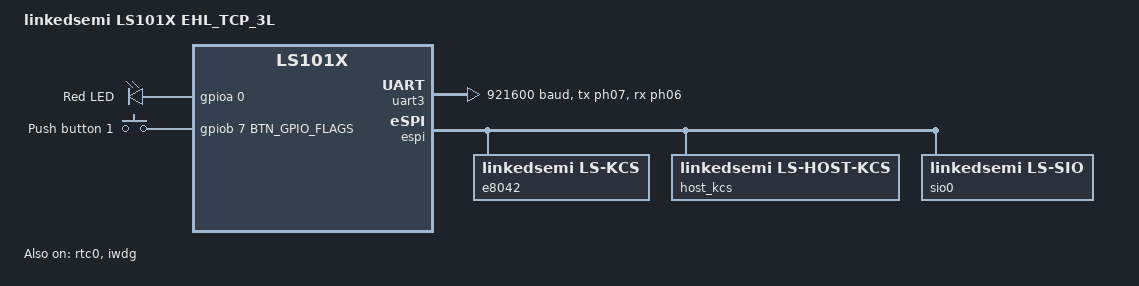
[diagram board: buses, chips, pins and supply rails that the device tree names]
/*
 * Copyright (c) 2026 LinkedSemi
 *
 * SPDX-License-Identifier: Apache-2.0
 *
 * Product carrier: host motherboard EHL_TCP_3L (Leo / LS1010 EC).
 *
 * - Timing is done by motherboard hardware; EC does not drive RSMRST.
 * - Sense-only: PE15 ← SLP_S3#, PD03 ← PLTRST# (GPIO inputs; not PWM8).
 * - Host works as Super I/O; BIOS does not decode ACPI EC 0x62/0x66.
 * - Console UART3: TX PH07 / RX PH06 @ 921600.
 */

/dts-v1/;
#include <riscv/linkedsemi/ls101x.dtsi>
#include "ls101x_ehl_tcp_3l-pinctrl.dtsi"
#include <zephyr/dt-bindings/pinctrl/ls101x-pinctrl.h>
#include <zephyr/dt-bindings/input/input-event-codes.h>

#define BTN_GPIO_FLAGS (GPIO_ACTIVE_HIGH | GPIO_PULL_UP)

/ {
	model = "linkedsemi LS101X EHL_TCP_3L";
	compatible = "linkedsemi,ls101x_ehl_tcp_3l";

	chosen {
		zephyr,flash = &flash0;
		zephyr,sram = &sram0;
		zephyr,shell-uart = &uart3;
		zephyr,console = &uart3;
	};

	aliases {
		led0 = &led0;
		sw0 = &btn0;
		rtc0 = &rtc0;
		watchdog0 = &iwdg;
	};

	leds {
		compatible = "gpio-leds";
		led0: led_0 {
			gpios = <&gpioa 0 GPIO_ACTIVE_HIGH>;
			label = "Red LED";
		};
	};

	keys {
		compatible = "gpio-keys";
		btn0: btn_0 {
			gpios = <&gpiob 7 BTN_GPIO_FLAGS>;
			label = "Push button 1";
		};
	};
};

&flash0 {
	partitions {
		compatible = "fixed-partitions";
		#address-cells = <1>;
		#size-cells = <1>;

		boot_partition: partition@0 {
			label = "info-sbl";
			reg = <0x00000000 0x00001800>;
		};

		app_partition: partition@1800 {
			label = "app";
			reg = <0x00001800 0x0007c800>;
		};

		storage_partition: partition@7d000 {
			label = "storage";
			reg = <0x0007d000 0x00003000>;
		};
	};
};

&cpu0 {
	clock-frequency = <144000000>;
	cpu-power-states = <&idle &lp0>;
};

&rtc0 {
	status = "okay";
};

&uart3 {
	status = "okay";
	pinctrl-0 = <&uart3_tx_ph07 &uart3_rx_ph06>;
	pinctrl-names = "default";
	current-speed = <921600>;
};

/* SoC dtsi leaves these okay; disable so they do not claim pads (esp. PE15/PWM8). */
&spi1 {
	status = "disabled";
};

&cap {
	status = "disabled";
};

&pwm {
	status = "disabled";
};

&iwdg {
	status = "okay";
};

&espi {
	/* Software VW shadow (writable SRAM); required by ls-espi binding */
	sysevent-base = <0x1001ffe0>;
	/*
	 * cs-gpios omitted: soft-recover path + init-priority
	 * (GPIO POST_KERNEL vs eSPI PRE_KERNEL_2).
	 */
	status = "okay";

	e8042: e8042 {
		compatible = "linkedsemi,ls-kcs";
		port = <0x60 0x64>;
		kcs-env-addr = <0x1001ffc0>;
		status = "okay";
	};

	/*
	 * Host KBC 0x60/0x64 decode. Peer lookup only sums siblings that
	 * have kcs-env-addr (SIO/other peri children are skipped).
	 */
	host_kcs: host-kcs {
		compatible = "linkedsemi,ls-host-kcs";
		port = <0x60 0x64>;
		kcs-env-addr = <0x1001ffc0>;
		espi_lpc = <&espi>;
		status = "okay";
	};

	/* Super I/O config index/data 0x2E/0x2F (BIOS probes this before KBC). */
	sio0: sio {
		compatible = "linkedsemi,ls-sio";
		port = <0x2e>;
		chip-id = <0x8786>;
		status = "okay";

		/*
		 * Host COM ports via SIO LDN. Keep SoC UART nodes disabled
		 * (not Zephyr consoles). Do not add kcs-env-addr here.
		 */
		sio_uart1: sio-uart1 {
			compatible = "linkedsemi,ls-sio-uart";
			ldn = <0x01>;
			uart = <&dwuart1>;
			default-io = <0x3f8>;
			default-irq = <4>;
			pinctrl-0 = <&dwuart1_tx_pc11 &dwuart1_rx_pc12
				     &dwuart1_rts_pc09 &dwuart1_cts_pc07>;
			pinctrl-names = "default";
			dtr-gpios = <&gpioc 8 GPIO_ACTIVE_LOW>;
			dsr-gpios = <&gpioc 10 (GPIO_ACTIVE_LOW | GPIO_PULL_UP)>;
			ri-gpios = <&gpioc 6 (GPIO_ACTIVE_LOW | GPIO_PULL_UP)>;
			dcd-gpios = <&gpioc 5 (GPIO_ACTIVE_LOW | GPIO_PULL_UP)>;
			status = "okay";
		};

		sio_uart2: sio-uart2 {
			compatible = "linkedsemi,ls-sio-uart";
			ldn = <0x02>;
			uart = <&dwuart2>;
			default-io = <0x2f8>;
			default-irq = <3>;
			pinctrl-0 = <&dwuart2_tx_pe11 &dwuart2_rx_pe12
				     &dwuart2_rts_pe09 &dwuart2_cts_pe06>;
			pinctrl-names = "default";
			dtr-gpios = <&gpioe 8 GPIO_ACTIVE_LOW>;
			dsr-gpios = <&gpioe 10 (GPIO_ACTIVE_LOW | GPIO_PULL_UP)>;
			ri-gpios = <&gpioe 7 (GPIO_ACTIVE_LOW | GPIO_PULL_UP)>;
			dcd-gpios = <&gpioe 4 (GPIO_ACTIVE_LOW | GPIO_PULL_UP)>;
			status = "okay";
		};

		sio_uart3: sio-uart3 {
			compatible = "linkedsemi,ls-sio-uart";
			ldn = <0x08>;
			uart = <&uart1>;
			default-io = <0x3e8>;
			default-irq = <0x0b>;
			pinctrl-0 = <&uart1_tx_pf08 &uart1_rx_pf09
				     &uart1_rts_pf06 &uart1_cts_pf04>;
			pinctrl-names = "default";
			dtr-gpios = <&gpiof 5 GPIO_ACTIVE_LOW>;
			dsr-gpios = <&gpiof 7 (GPIO_ACTIVE_LOW | GPIO_PULL_UP)>;
			ri-gpios = <&gpiof 3 (GPIO_ACTIVE_LOW | GPIO_PULL_UP)>;
			dcd-gpios = <&gpiof 2 (GPIO_ACTIVE_LOW | GPIO_PULL_UP)>;
			status = "okay";
		};

		sio_uart4: sio-uart4 {
			compatible = "linkedsemi,ls-sio-uart";
			ldn = <0x09>;
			uart = <&uart2>;
			default-io = <0x2e8>;
			default-irq = <0x0b>;
			pinctrl-0 = <&uart2_tx_pg06 &uart2_rx_ph00
				     &uart2_rts_pg04 &uart2_cts_pg02>;
			pinctrl-names = "default";
			dtr-gpios = <&gpiog 3 GPIO_ACTIVE_LOW>;
			dsr-gpios = <&gpiog 5 (GPIO_ACTIVE_LOW | GPIO_PULL_UP)>;
			ri-gpios = <&gpiog 1 (GPIO_ACTIVE_LOW | GPIO_PULL_UP)>;
			dcd-gpios = <&gpiog 0 (GPIO_ACTIVE_LOW | GPIO_PULL_UP)>;
			status = "okay";
		};
	};
};

&gpioa {
	status = "okay";
};

&gpiob {
	status = "okay";
};

&gpioc {
	status = "okay";
};

&gpiod {
	status = "okay";
};

&gpioe {
	status = "okay";
};

&gpiof {
	status = "okay";
};

&gpiog {
	status = "okay";
};

&gpioh {
	status = "okay";
};
